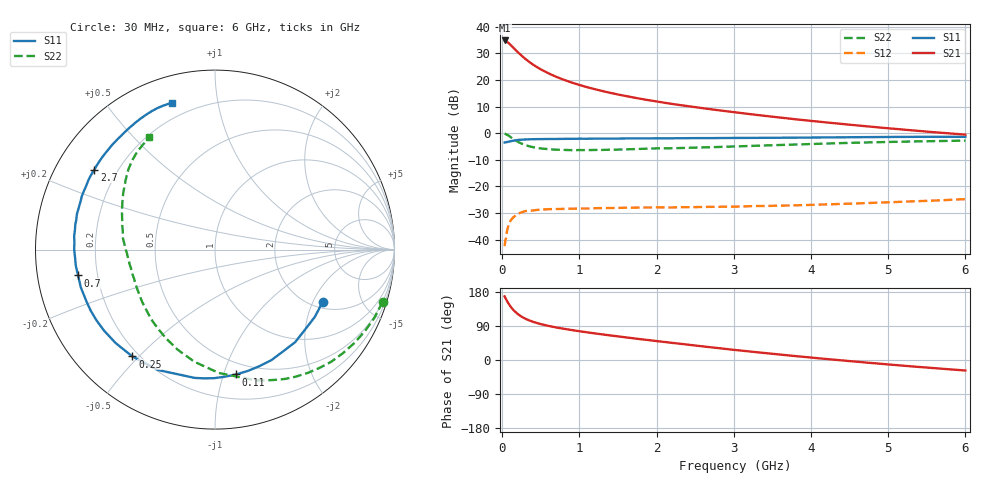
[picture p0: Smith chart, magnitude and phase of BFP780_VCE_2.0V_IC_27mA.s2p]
! Infineon Technologies  Discrete & RF Semiconductors
! BFP780
! VCE =  2.0 V,  IC =  27 mA
! Common Emitter S-Parameters:  Jul 2015
# GHz  S  MA  R  50
!  f  S11  S21  S12  S22
! GHz  MAG  ANG  MAG  ANG  MAG  ANG  MAG  ANG
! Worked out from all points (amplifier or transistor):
!   75 points, 30 MHz to 6 GHz, reference 50 ohm
!   highest |S21| = 34.8 dB at 30 MHz (marker M1)
!   |S21| within 3 dB of that: start of sweep to 152.9 MHz
!   unconditionally stable (mu >= 1): 2.252 GHz to end of sweep
!   at 150 MHz: K = 0.08, MSG = 31.7 dB, |S12| = -31.5 dB
!   at 2.3 GHz: K = 1.01, MAG = 18.5 dB, |S12| = -27.8 dB
!   at 6 GHz: K = 1.48, MAG = 8.0 dB, |S12| = -24.8 dB
!   S11 on the Smith chart (normalised r, x): 30 MHz: 2.28, -2.38; 110 MHz: 0.40, -1.10; 250 MHz: 0.17, -0.48; 700 MHz: 0.13, -0.09; 2.7 GHz: 0.12, +0.30; 6 GHz: 0.12, +0.74
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0.03  0.6669 -25.8  55.22 167.8  0.0075 83.8  0.9783 -17.3
0.05  0.6713 -42.0  53.46 159.7  0.0108 67.6  0.9504 -28.6
0.07  0.6824 -56.3  50.94 152.6  0.0161 62.0  0.9174 -38.9
0.09  0.695 -69.2  48.06 146.1  0.0193 59.0  0.8793 -48.6
0.11  0.7054 -80.5  45.11 140.3  0.0231 52.5  0.8383 -57.7
0.13  0.7165 -90.5  42.25 135.2  0.0248 46.6  0.7986 -65.4
0.15  0.7238 -99.0  39.48 130.6  0.0267 45.3  0.7629 -72.7
0.2  0.7429 -115.6  33.4 121.4  0.0304 37.3  0.6879 -88.2
0.25  0.7526 -127.7  28.59 114.3  0.0324 31.4  0.6354 -100.4
0.3  0.76 -136.8  24.76 108.8  0.0343 28.0  0.5947 -110.6
0.4  0.7692 -149.4  19.34 100.7  0.0352 21.5  0.5439 -125.5
0.5  0.7721 -157.9  15.78 94.7  0.0365 18.3  0.515 -136.4
0.7  0.7765 -169.3  11.43 85.8  0.0374 14.1  0.4879 -151.0
0.9  0.781 -176.9  8.925 79.0  0.0379 12.1  0.479 -160.5
1.1  0.7843 177.1  7.296 73.0  0.0383 10.8  0.4795 -167.7
1.5  0.7904 167.8  5.323 62.3  0.0393 9.4  0.4908 -177.5
2.1  0.7999 156.4  3.728 47.6  0.0401 8.1  0.5165 171.9
2.7  0.8064 146.4  2.813 33.6  0.0411 8.3  0.5435 162.1
3.1  0.8126 140.0  2.38 24.7  0.0418 8.8  0.5674 155.8
4.1  0.8282 125.8  1.643 4.5  0.0453 9.8  0.6302 142.3
5.1  0.8485 114.5  1.199 -13.4  0.0507 9.7  0.6868 130.6
6  0.8527 106.3  0.936 -27.8  0.0574 7.2  0.7235 120.3
